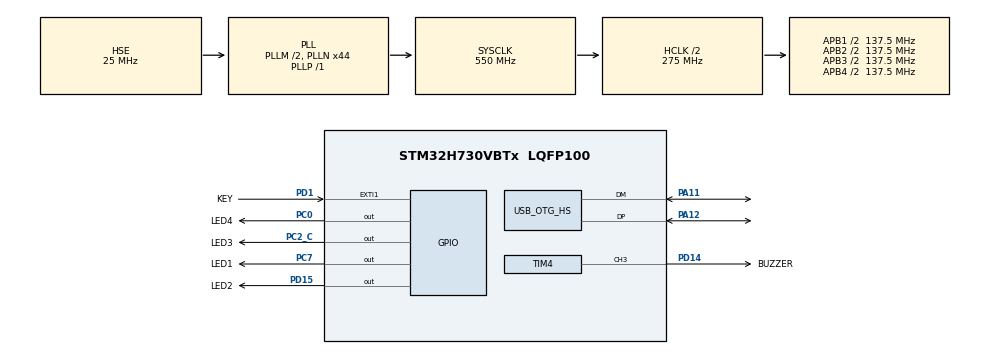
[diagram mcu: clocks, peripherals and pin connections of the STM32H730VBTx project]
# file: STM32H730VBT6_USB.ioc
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CORTEX_M7.default_mode_Activation=1
Mcu.Family=STM32H7
Mcu.Name=STM32H730VBTx
Mcu.Package=LQFP100
NVIC.EXTI1_IRQn=true\:0\:0\:false\:false\:true\:true\:true\:true
NVIC.OTG_HS_EP1_IN_IRQn=true\:0\:0\:false\:false\:true\:true\:true\:true
NVIC.OTG_HS_IRQn=true\:0\:0\:false\:false\:true\:false\:true\:true
NVIC.PriorityGroup=NVIC_PRIORITYGROUP_4
PA11.Mode=Device_Only_FS
PA11.Signal=USB_OTG_HS_DM
PA12.Mode=Device_Only_FS
PA12.Signal=USB_OTG_HS_DP
PA13(JTMS/SWDIO).Mode=Serial_Wire
PA13(JTMS/SWDIO).Signal=DEBUG_JTMS-SWDIO
PA14(JTCK/SWCLK).Mode=Serial_Wire
PA14(JTCK/SWCLK).Signal=DEBUG_JTCK-SWCLK
PC0.GPIO_Label=LED4
PC0.Signal=GPIO_Output
PC14-OSC32_IN.Mode=LSE-External-Oscillator
PC14-OSC32_IN.Signal=RCC_OSC32_IN
PC15-OSC32_OUT.Mode=LSE-External-Oscillator
PC15-OSC32_OUT.Signal=RCC_OSC32_OUT
PC2_C.GPIO_Label=LED3
PC2_C.Signal=GPIO_Output
PC7.GPIO_Label=LED1
PC7.Signal=GPIO_Output
PD1.GPIO_Label=KEY
PD1.GPIO_ModeDefaultEXTI=GPIO_MODE_IT_FALLING
PD1.Signal=GPXTI1
PD14.GPIO_Label=BUZZER
PD14.Signal=S_TIM4_CH3
PD15.GPIO_Label=LED2
PD15.Signal=GPIO_Output
PH0-OSC_IN.Mode=HSE-External-Oscillator
PH0-OSC_IN.Signal=RCC_OSC_IN
PH1-OSC_OUT.Mode=HSE-External-Oscillator
PH1-OSC_OUT.Signal=RCC_OSC_OUT
ProjectManager.HeapSize=0x200
ProjectManager.StackSize=0x400
ProjectManager.TargetToolchain=STM32CubeIDE
RCC.ADCFreq_Value=50390625
RCC.APB1Freq_Value=137500000
RCC.APB2Freq_Value=137500000
RCC.APB3Freq_Value=137500000
RCC.APB4Freq_Value=137500000
RCC.CortexFreq_Value=550000000
RCC.D1PPRE=RCC_APB3_DIV2
RCC.D2PPRE1=RCC_APB1_DIV2
RCC.D2PPRE2=RCC_APB2_DIV2
RCC.D3PPRE=RCC_APB4_DIV2
RCC.DIVM1=2
RCC.DIVN1=44
RCC.DIVP1=1
RCC.DIVQ1=5
RCC.HCLKFreq_Value=275000000
RCC.HPRE=RCC_HCLK_DIV2
RCC.PLL2FRACN=0
RCC.PLL3FRACN=0
RCC.PLLFRACN=0
RCC.PLLSourceVirtual=RCC_PLLSOURCE_HSE
RCC.SYSCLKFreq_VALUE=550000000
RCC.SYSCLKSource=RCC_SYSCLKSOURCE_PLLCLK
RCC.USBCLockSelection=RCC_USBCLKSOURCE_HSI48
RCC.USBFreq_Value=48000000
SH.S_TIM4_CH3.0=TIM4_CH3,PWM Generation3 CH3
TIM4.AutoReloadPreload=TIM_AUTORELOAD_PRELOAD_ENABLE
TIM4.Channel-PWM\ Generation3\ CH3=TIM_CHANNEL_3
TIM4.OCFastMode_PWM-PWM\ Generation3\ CH3=TIM_OCFAST_ENABLE
TIM4.Period=10999
TIM4.Prescaler=49
USB_DEVICE.CLASS_NAME_HS=CDC
USB_DEVICE.MANUFACTURER_STRING=Kaiser
USB_DEVICE.VID=1145
USB_DEVICE.VirtualMode=Cdc
USB_DEVICE.VirtualModeHS=Cdc_HS
USB_OTG_HS.VirtualMode-Device_Only_FS=Device_Only_FS
USB_OTG_HS.dma_enable-Device_Only_FS=ENABLE
VP_USB_DEVICE_VS_USB_DEVICE_CDC_HS.Mode=CDC_HS
board=custom

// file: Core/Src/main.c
/* USER CODE BEGIN Header */
/**
 ******************************************************************************
 * @file           : main.c
 * @brief          : Main program body
 ******************************************************************************
 * @attention
 *
 * Copyright (c) 2024 STMicroelectronics.
 * All rights reserved.
 *
 * This software is licensed under terms that can be found in the LICENSE file
 * in the root directory of this software component.
 * If no LICENSE file comes with this software, it is provided AS-IS.
 *
 ******************************************************************************
 */
/* USER CODE END Header */
#include "main.h"
#include "tim.h"
#include "usb_device.h"
#include "gpio.h"

/* USER CODE BEGIN Includes */
#include "BUZZER.h"
#include "vofa.h"
/* USER CODE END Includes */

void SystemClock_Config(void);
static void MPU_Config(void);

int main(void)
{

  /* MPU Configuration--------------------------------------------------------*/
  MPU_Config();

  /* MCU Configuration--------------------------------------------------------*/

  /* Reset of all peripherals, Initializes the Flash interface and the Systick. */
  HAL_Init();

  /* Configure the system clock */
  SystemClock_Config();

  /* Initialize all configured peripherals */
  MX_GPIO_Init();
  MX_TIM4_Init();
  MX_USB_DEVICE_Init();
  /* USER CODE BEGIN 2 */
    HAL_TIM_Base_Start_IT(&htim4);

    BUZZER_0N(400);
    HAL_Delay(100);
    BUZZER_Stop();
    HAL_Delay(100);
    BUZZER_0N(500);
    HAL_Delay(100);
    BUZZER_Stop();
    BUZZER_0N(700);
    HAL_Delay(114);
    BUZZER_Stop();
  /* USER CODE END 2 */

  /* Infinite loop */
  /* USER CODE BEGIN WHILE */
    while (1) {
        if (HAL_GPIO_ReadPin(KEY_GPIO_Port,KEY_Pin)){
            BUZZER_Stop();
            vofa_start();
        }else{
           BUZZER_0N(114);
        }

    /* USER CODE END WHILE */

    }
}

void SystemClock_Config(void)
{
  RCC_OscInitTypeDef RCC_OscInitStruct = {0};
  RCC_ClkInitTypeDef RCC_ClkInitStruct = {0};

  /** Supply configuration update enable
  */
  HAL_PWREx_ConfigSupply(PWR_LDO_SUPPLY);

  /** Configure the main internal regulator output voltage
  */
  __HAL_PWR_VOLTAGESCALING_CONFIG(PWR_REGULATOR_VOLTAGE_SCALE0);

  while(!__HAL_PWR_GET_FLAG(PWR_FLAG_VOSRDY)) {}

  /** Initializes the RCC Oscillators according to the specified parameters
  * in the RCC_OscInitTypeDef structure.
  */
  RCC_OscInitStruct.OscillatorType = RCC_OSCILLATORTYPE_HSI48|RCC_OSCILLATORTYPE_HSE;
  RCC_OscInitStruct.HSEState = RCC_HSE_ON;
  RCC_OscInitStruct.HSI48State = RCC_HSI48_ON;
  RCC_OscInitStruct.PLL.PLLState = RCC_PLL_ON;
  RCC_OscInitStruct.PLL.PLLSource = RCC_PLLSOURCE_HSE;
  RCC_OscInitStruct.PLL.PLLM = 2;
  RCC_OscInitStruct.PLL.PLLN = 44;
  RCC_OscInitStruct.PLL.PLLP = 1;
  RCC_OscInitStruct.PLL.PLLQ = 5;
  RCC_OscInitStruct.PLL.PLLR = 2;
  RCC_OscInitStruct.PLL.PLLRGE = RCC_PLL1VCIRANGE_3;
  RCC_OscInitStruct.PLL.PLLVCOSEL = RCC_PLL1VCOWIDE;
  RCC_OscInitStruct.PLL.PLLFRACN = 0;
  if (HAL_RCC_OscConfig(&RCC_OscInitStruct) != HAL_OK)
  {
    Error_Handler();
  }

  /** Initializes the CPU, AHB and APB buses clocks
  */
  RCC_ClkInitStruct.ClockType = RCC_CLOCKTYPE_HCLK|RCC_CLOCKTYPE_SYSCLK
                              |RCC_CLOCKTYPE_PCLK1|RCC_CLOCKTYPE_PCLK2
                              |RCC_CLOCKTYPE_D3PCLK1|RCC_CLOCKTYPE_D1PCLK1;
  RCC_ClkInitStruct.SYSCLKSource = RCC_SYSCLKSOURCE_PLLCLK;
  RCC_ClkInitStruct.SYSCLKDivider = RCC_SYSCLK_DIV1;
  RCC_ClkInitStruct.AHBCLKDivider = RCC_HCLK_DIV2;
  RCC_ClkInitStruct.APB3CLKDivider = RCC_APB3_DIV2;
  RCC_ClkInitStruct.APB1CLKDivider = RCC_APB1_DIV2;
  RCC_ClkInitStruct.APB2CLKDivider = RCC_APB2_DIV2;
  RCC_ClkInitStruct.APB4CLKDivider = RCC_APB4_DIV2;

  if (HAL_RCC_ClockConfig(&RCC_ClkInitStruct, FLASH_LATENCY_3) != HAL_OK)
  {
    Error_Handler();
  }
}

 /* MPU Configuration */

void MPU_Config(void)
{
  MPU_Region_InitTypeDef MPU_InitStruct = {0};

  /* Disables the MPU */
  HAL_MPU_Disable();

  /** Initializes and configures the Region and the memory to be protected
  */
  MPU_InitStruct.Enable = MPU_REGION_ENABLE;
  MPU_InitStruct.Number = MPU_REGION_NUMBER0;
  MPU_InitStruct.BaseAddress = 0x0;
  MPU_InitStruct.Size = MPU_REGION_SIZE_4GB;
  MPU_InitStruct.SubRegionDisable = 0x87;
  MPU_InitStruct.TypeExtField = MPU_TEX_LEVEL0;
  MPU_InitStruct.AccessPermission = MPU_REGION_NO_ACCESS;
  MPU_InitStruct.DisableExec = MPU_INSTRUCTION_ACCESS_DISABLE;
  MPU_InitStruct.IsShareable = MPU_ACCESS_SHAREABLE;
  MPU_InitStruct.IsCacheable = MPU_ACCESS_NOT_CACHEABLE;
  MPU_InitStruct.IsBufferable = MPU_ACCESS_NOT_BUFFERABLE;

  HAL_MPU_ConfigRegion(&MPU_InitStruct);
  /* Enables the MPU */
  HAL_MPU_Enable(MPU_PRIVILEGED_DEFAULT);

}

void Error_Handler(void)
{
    __disable_irq();
    while (1) {
    }
}
